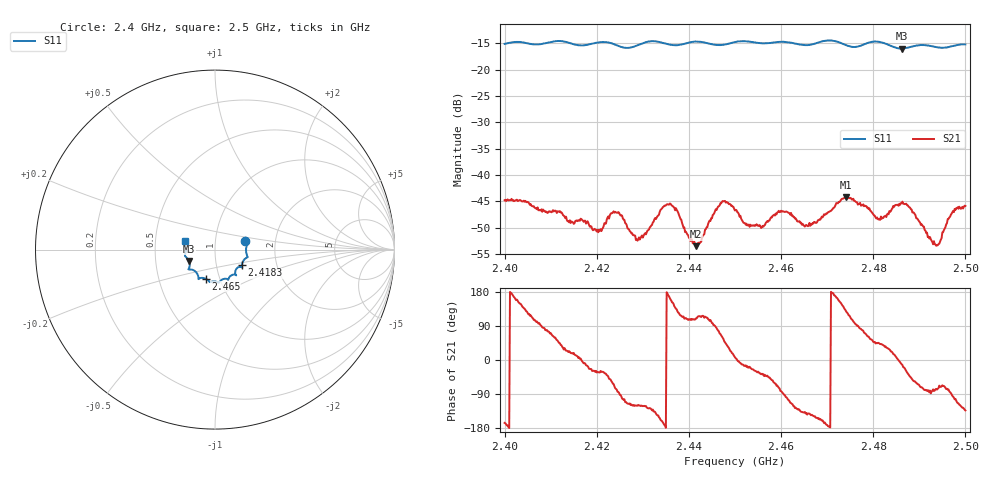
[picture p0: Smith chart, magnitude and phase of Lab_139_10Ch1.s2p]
# Hz S RI R 50
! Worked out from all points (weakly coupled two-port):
!   601 points, 2.4 GHz to 2.5 GHz, reference 50 ohm
!   highest |S21| = -44.23 dB at 2.4742 GHz (marker M1); lowest = -53.5 dB at 2.4415 GHz (marker M2)
!   lowest |S11| = -16.0 dB at 2.4862 GHz (marker M3), VSWR 1.38, Z = 37.1 - j4.81 ohm
!   |S11| at or under -10 dB: start of sweep to end of sweep
!   S12 and S22 are empty: the file has one direction only
!   S11 on the Smith chart (normalised r, x): 2.4 GHz: 1.40, +0.13; 2.4183 GHz: 1.33, -0.24; 2.465 GHz: 0.86, -0.29; 2.5 GHz: 0.71, +0.07
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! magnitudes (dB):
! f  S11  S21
! 2.4 GHz  -15.1  -44.8
! 2.4167 GHz  -15.4  -48.4
! 2.4183 GHz  -15.2  -49.5
! 2.4208 GHz  -14.8  -50.3
! 2.4245 GHz  -15.5  -47.2
! 2.429 GHz  -15.3  -52.2
! 2.4333 GHz  -14.7  -47.7
! 2.4363 GHz  -15.4  -45.8
! 2.4415 GHz  -14.7  -53.5
! 2.4472 GHz  -15.3  -45.1
! 2.45 GHz  -14.8  -46.8
! 2.4532 GHz  -14.7  -49.9
! 2.46 GHz  -14.7  -46.8
! 2.465 GHz  -15.4  -49.6
! 2.4667 GHz  -15.2  -49.4
! 2.4742 GHz  -15.4  -44.2
! 2.481 GHz  -14.7  -48.4
! 2.4833 GHz  -15.3  -47.5
! 2.4862 GHz  -16.0  -45.4
! 2.4938 GHz  -15.8  -53.4
! 2.4972 GHz  -15.6  -47.1
! 2.5 GHz  -15.2  -45.9
